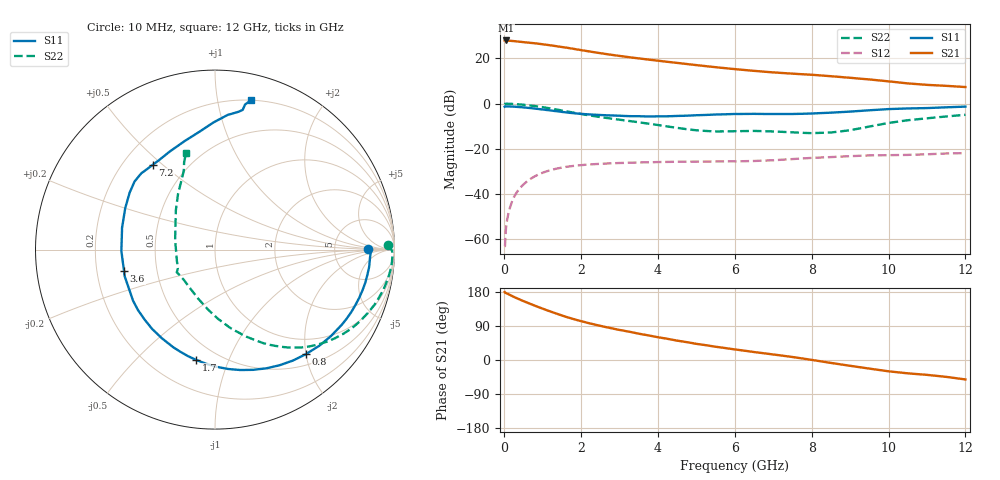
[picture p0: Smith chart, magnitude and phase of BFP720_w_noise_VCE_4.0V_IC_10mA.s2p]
! Infineon Technologies  Discrete & RF Semiconductors
! BFP720
! VCE =  4.0 V,  IC =  10 mA
! Common Emitter S-Parameters:  Aug 2012
# GHz  S  MA  R  50
!  f  S11  S21  S12  S22
! GHz  MAG  ANG  MAG  ANG  MAG  ANG  MAG  ANG
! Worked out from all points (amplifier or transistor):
!   105 points, 10 MHz to 12 GHz, reference 50 ohm
!   highest |S21| = 27.9 dB at 50 MHz (marker M1)
!   |S21| within 3 dB of that: start of sweep to 1.543 GHz
!   unconditionally stable (mu >= 1): start of sweep to 13.75 MHz; 5.45 GHz to 11.17 GHz
!   at 300 MHz: K = 0.14, MSG = 33.8 dB, |S12| = -40.0 dB
!   at 3.6 GHz: K = 0.70, MSG = 22.9 dB, |S12| = -26.0 dB
!   at 12 GHz: K = 0.78, MSG = 14.6 dB, |S12| = -21.9 dB
!   lowest NFmin = 0.53 dB at 450 MHz
!   S11 on the Smith chart (normalised r, x): 10 MHz: 12, +0; 800 MHz: 0.69, -1.99; 1.7 GHz: 0.38, -0.77; 3.6 GHz: 0.32, -0.11; 7.2 GHz: 0.32, +0.46; 12 GHz: 0.20, +1.25
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0.01  0.8517 0.3  24.84 179.4  0.0007 -15.7  0.9663 1.5
0.02  0.8678 -1.0  24.69 177.7  0.0007 70.9  0.9869 -0.5
0.05  0.8648 -3.0  24.84 176.5  0.0019 66.9  0.9888 -1.8
0.25  0.8525 -15.5  24.03 166.6  0.0084 78.2  0.9763 -9.8
0.45  0.8282 -27.7  23.05 157.5  0.0147 72.6  0.9483 -17.4
0.8  0.7715 -49.1  21.52 143.2  0.0247 62.5  0.8794 -29.9
1  0.7381 -60.8  20.45 135.5  0.0295 56.7  0.8309 -36.5
1.2  0.7028 -72.4  19.4 128.1  0.0335 51.4  0.7799 -42.7
1.4  0.6695 -83.6  18.31 121.0  0.0369 46.5  0.7277 -48.5
1.7  0.6239 -99.6  16.76 111.1  0.0407 40.1  0.6524 -56.0
2.1  0.5822 -117.1  14.71 100.0  0.0441 33.3  0.5683 -64.4
2.4  0.5638 -128.5  13.4 92.4  0.0459 29.3  0.5171 -70.0
2.8  0.5456 -141.8  11.93 83.5  0.0477 25.0  0.4623 -76.5
3.6  0.5209 -166.6  9.721 67.7  0.0499 18.8  0.3744 -89.3
4.1  0.5212 178.0  8.658 58.4  0.0509 15.8  0.3251 -98.9
5  0.551 155.2  7.08 42.6  0.052 11.7  0.2562 -122.8
6.1  0.5876 138.5  5.67 26.6  0.0528 9.7  0.2448 -146.0
7.2  0.5858 126.2  4.758 12.0  0.057 10.2  0.2371 -151.8
8.5  0.628 105.6  4.023 -7.7  0.0654 5.7  0.2284 166.5
9.5  0.7092 90.6  3.408 -22.7  0.0712 0.2  0.3094 134.8
10.5  0.7783 80.4  2.788 -35.2  0.0731 -4.8  0.4272 116.0
12  0.8543 76.6  2.315 -51.3  0.0801 -12.7  0.5634 106.6
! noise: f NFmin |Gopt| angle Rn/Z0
0.45  0.53  0.29  1  0.21
1.8  0.58  0.26  18  0.12
2.4  0.64  0.23  38  0.29
5.5  0.78  0.11  20  0.14
10  0.97  0.4  -78  0.22
